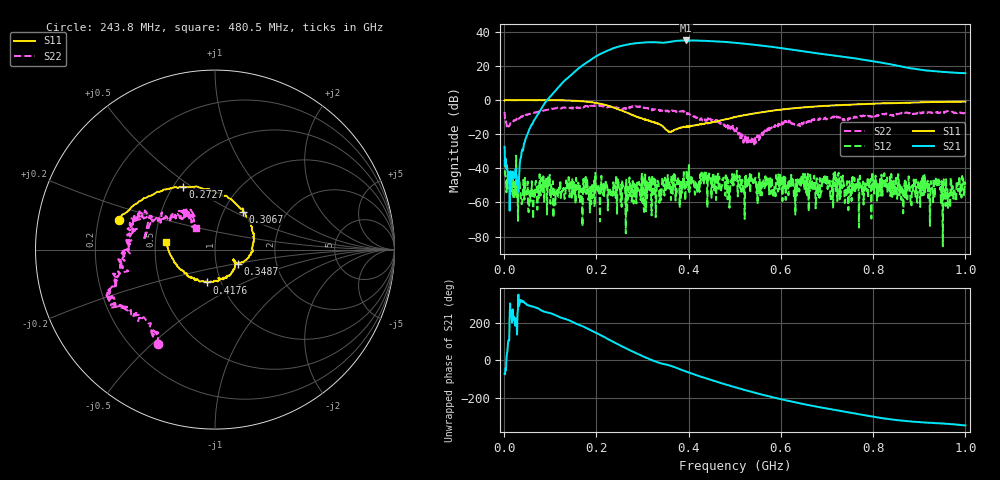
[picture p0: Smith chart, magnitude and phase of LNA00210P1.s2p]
! Created with skrf 1.9.0 (http://scikit-rf.org).
# Hz S RI R 50.0
!freq ReS11 ImS11 ReS21 ImS21 ReS12 ImS12 ReS22 ImS22
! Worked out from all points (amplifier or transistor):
!   1001 points, 1 MHz to 1 GHz, reference 50 ohm
!   highest |S21| = 34.9 dB at 394.6 MHz (marker M1)
!   |S21| within 3 dB of that: 256.9 MHz to 557.7 MHz (300.9 MHz wide, 73.9 % of centre)
!   unconditionally stable (mu >= 1): 195 MHz to 298.4 MHz; 298.8 MHz to 395.5 MHz; 395.7 MHz to end of sweep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
!   at 166.8 MHz: K = 3.00, MAG = 29.5 dB, |S12| = -54.7 dB
!   at 500.5 MHz: K = 2.25, MAG = 34.1 dB, |S12| = -47.1 dB
!   at 1 GHz: K = 3.57, MAG = 24.2 dB, |S12| = -49.5 dB
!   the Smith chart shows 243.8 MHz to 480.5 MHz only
!   S11 on the Smith chart (normalised r, x): 243.8 MHz: 0.29, +0.14; 272.7 MHz: 0.56, +0.46; 306.7 MHz: 1.22, +0.56; 348.7 MHz: 1.27, -0.20; 417.6 MHz: 0.85, -0.32; 480.5 MHz: 0.57, +0.05
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1000000  0.9726 0.00701  0.0126 -0.0411  -0.0176 -0.000893  0.2918 0.3431
1.08892e8  0.5157 -0.845  -0.8223 -1.532  -0.00134 0.00246  0.4248 -0.3671
1.67833e8  -0.2423 -0.897  -9.907 -0.4751  0.00201 -0.00148  0.0371 -0.6241
2.09791e8  -0.673 -0.3789  -15.42 16.93  0.000402 -0.0019  -0.182 -0.6445
2.43757e8  -0.5358 0.1658  1.169 35.39  0.00122 -0.00138  -0.3149 -0.5282
2.72728e8  -0.1803 0.3487  26.46 35.07  -0.00142 0.000615  -0.5381 -0.3239
3.06694e8  0.1537 0.2111  47.41 12.01  0.000667 -0.000272  -0.5509 -0.1908
3.34666e8  0.2006 -0.0142  47.77 -10.78  -0.00323 -0.0015  -0.5151 -0.00767
3.48652e8  0.1266 -0.078  44.76 -18.13  -0.000869 0.00528  -0.4785 0.0146
3.7063e8  0.113 -0.0754  42.46 -33.25  -0.000551 0.00634  -0.4481 0.1658
3.94606e8  0.0578 -0.1551  27.4 -48.68  0.00132 0.00214  -0.3991 0.1748
4.17583e8  -0.0472 -0.1829  9.172 -54.45  0.000457 0.00406  -0.2358 0.1991
4.45555e8  -0.1753 -0.1188  -11.89 -52.33  0.00619 0.00136  -0.1744 0.2182
4.8052e8  -0.2713 0.0399  -31.85 -39.18  0.00624 0.000657  -0.1033 0.1225
5.005e8  -0.2757 0.1499  -38.67 -28.27  0.000425 -0.00437  -0.1076 0.0927
5.36464e8  -0.2047 0.3401  -41.66 -8.459  0.00118 0.00369  -0.0708 0.0248
5.84416e8  0.00514 0.4983  -34.08 11.15  0.0017 -0.00103  -0.148 -0.048
6.25375e8  0.2054 0.5346  -22.43 19.64  -0.0026 -0.00108  -0.1854 -0.0971
6.67333e8  0.4054 0.4925  -11.38 21.75  -0.00281 -0.00312  -0.269 0.0191
7.53247e8  0.6791 0.2818  3.143 16.85  -0.00103 -0.000376  -0.2759 0.0994
8.34166e8  0.8042 0.0162  7.795 8.312  -0.00337 -0.00223  -0.3461 0.1348
1e9  0.7275 -0.5331  5.996 1.378  -0.000579 0.00329  -0.123 0.3767
